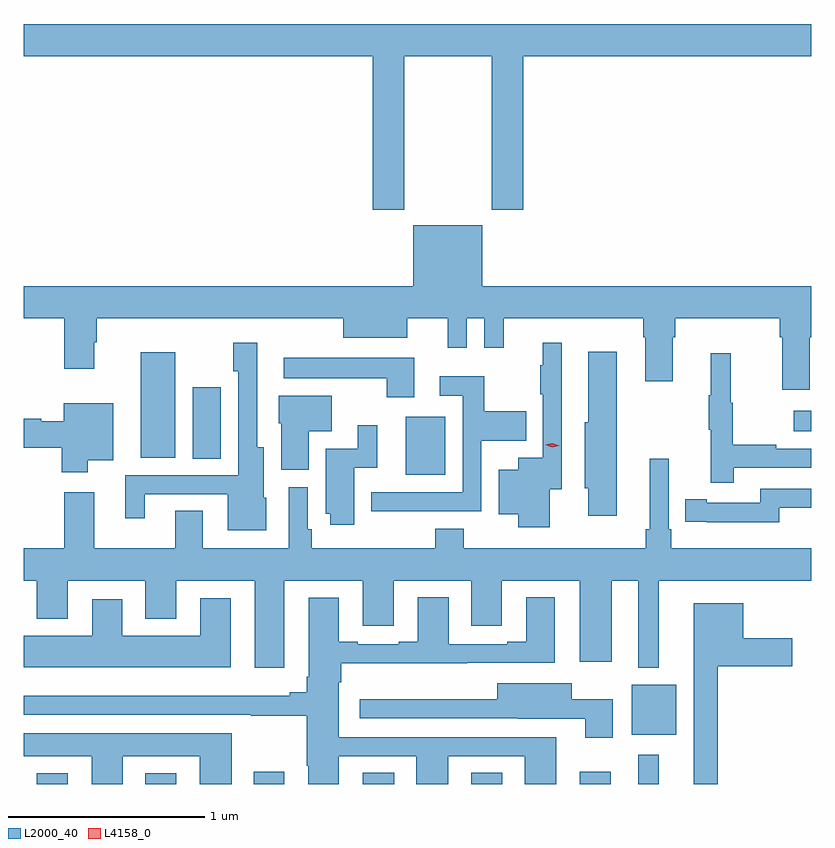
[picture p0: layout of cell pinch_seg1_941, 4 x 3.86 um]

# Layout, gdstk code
import gdstk
lib = gdstk.Library(unit=1e-6, precision=1e-09)
def R(c, l, rs):  # rectangles x0, y0, x1, y1
    for r in rs: c.add(gdstk.rectangle(r[:2], r[2:], *l))
def P(c, l, *ps):  # polygons
    for p in ps: c.add(gdstk.Polygon(p, *l))
L2000_40 = (2000, 40)
L4158_0 = (4158, 0)

pinch_seg1_941 = lib.new_cell('pinch_seg1_941')
R(pinch_seg1_941, L2000_40, [(196.304,508.074,196.462,508.129), (196.856,508.074,197.014,508.129), (197.408,508.074,197.563,508.135), (197.96,508.074,198.121,508.13), (198.512,508.074,198.67,508.13), (199.064,508.074,199.222,508.135), (199.361,508.074,199.465,508.222), (199.328,508.325,199.555,508.579), (198.179,509.645,198.379,509.941), (197.096,509.728,197.239,510.091), (196.832,509.732,197.008,510.268), (200.151,509.867,200.239,509.971)])
P(pinch_seg1_941, L2000_40, [(198.171,511.772),(198.616,511.772),(198.616,510.993),(198.776,510.993),(198.776,511.772),(200.239,511.772),(200.239,511.936),(196.239,511.936),(196.239,511.772),(198.011,511.772),(198.011,510.993),(198.171,510.993)],
  [(200.233,510.344),(200.239,510.344),(200.239,510.604),(198.568,510.604),(198.568,510.913),(198.218,510.913),(198.218,510.604),(196.239,510.604),(196.239,510.44),(196.445,510.44),(196.445,510.183),(196.597,510.183),(196.597,510.32),(196.61,510.32),(196.61,510.44),(197.861,510.44),(197.861,510.341),(198.187,510.341),(198.187,510.44),(198.392,510.44),(198.392,510.291),(198.489,510.291),(198.489,510.44),(198.579,510.44),(198.579,510.291),(198.677,510.291),(198.677,510.44),(199.385,510.44),(199.385,510.344),(199.397,510.344),(199.397,510.12),(199.537,510.12),(199.537,510.344),(199.55,510.344),(199.55,510.44),(200.081,510.44),(200.081,510.344),(200.093,510.344),(200.093,510.078),(200.233,510.078)],
  [(198.91,509.573),(198.972,509.573),(198.972,510.013),(198.973,510.013),(198.973,510.316),(198.875,510.316),(198.875,510.203),(198.864,510.203),(198.864,510.055),(198.876,510.055),(198.876,509.731),(198.752,509.731),(198.752,509.671),(198.653,509.671),(198.653,509.444),(198.752,509.444),(198.752,509.379),(198.91,509.379)],
  [(197.47,509.529),(197.458,509.529),(197.458,509.785),(197.424,509.785),(197.424,510.316),(197.302,510.316),(197.302,510.171),(197.328,510.171),(197.328,509.643),(196.754,509.643),(196.754,509.424),(196.852,509.424),(196.852,509.547),(197.276,509.547),(197.276,509.363),(197.47,509.363)],
  [(199.252,510.271),(199.106,510.271),(199.106,509.913),(199.088,509.913),(199.088,509.577),(199.106,509.577),(199.106,509.436),(199.252,509.436)],
  [(199.847,509.682),(200.239,509.682),(200.239,509.778),(200.063,509.778),(200.063,509.798),(199.84,509.798),(199.84,510.012),(199.832,510.012),(199.832,510.262),(199.73,510.262),(199.73,510.049),(199.719,510.049),(199.719,509.875),(199.73,509.875),(199.73,509.604),(199.847,509.604)],
  [(198.223,510.241),(197.559,510.241),(197.559,510.137),(198.083,510.137),(198.083,510.039),(198.223,510.039)],
  [(198.239,509.46),(198.564,509.46),(198.564,509.819),(198.791,509.819),(198.791,509.967),(198.577,509.967),(198.577,510.145),(198.351,510.145),(198.351,510.048),(198.468,510.048),(198.468,509.556),(198.003,509.556),(198.003,509.459),(198.239,509.459)],
  [(197.686,509.867),(197.803,509.867),(197.803,510.046),(197.534,510.046),(197.534,509.907),(197.546,509.907),(197.546,509.67),(197.686,509.67)],
  [(196.564,509.72),(196.693,509.72),(196.693,510.01),(196.442,510.01),(196.442,509.917),(196.326,509.917),(196.326,509.93),(196.239,509.93),(196.239,509.783),(196.43,509.783),(196.43,509.658),(196.564,509.658)],
  [(197.917,509.682),(198.034,509.682),(198.034,509.896),(197.936,509.896),(197.936,509.778),(197.774,509.778),(197.774,509.448),(197.795,509.448),(197.795,509.391),(197.917,509.391)],
  [(199.465,509.108),(200.239,509.108),(200.239,509.272),(199.529,509.272),(199.529,509.368),(199.515,509.368),(199.515,509.728),(199.418,509.728),(199.418,509.368),(199.399,509.368),(199.399,509.272),(198.475,509.272),(198.475,509.371),(198.328,509.371),(198.328,509.272),(197.702,509.272),(197.702,509.368),(197.682,509.368),(197.682,509.581),(197.586,509.581),(197.586,509.272),(197.149,509.272),(197.149,509.462),(197.009,509.462),(197.009,509.272),(196.597,509.272),(196.597,509.557),(196.445,509.557),(196.445,509.272),(196.239,509.272),(196.239,509.108),(196.304,509.108),(196.304,508.914),(196.462,508.914),(196.462,509.108),(196.856,509.108),(196.856,508.914),(197.014,508.914),(197.014,509.108),(197.411,509.108),(197.411,508.665),(197.563,508.665),(197.563,509.108),(197.96,509.108),(197.96,508.878),(198.118,508.878),(198.118,509.108),(198.512,509.108),(198.512,508.878),(198.667,508.878),(198.667,509.108),(199.064,509.108),(199.064,508.695),(199.225,508.695),(199.225,509.108),(199.361,509.108),(199.361,508.664),(199.465,508.664)],
  [(200.076,509.478),(200.239,509.478),(200.239,509.574),(199.98,509.574),(199.98,509.502),(199.708,509.502),(199.708,509.522),(199.6,509.522),(199.6,509.406),(199.708,509.406),(199.708,509.405),(200.076,509.405)],
  [(197.839,508.215),(198.233,508.215),(198.233,508.074),(198.394,508.074),(198.394,508.215),(198.785,508.215),(198.785,508.074),(198.943,508.074),(198.943,508.311),(197.839,508.311),(197.839,508.592),(197.852,508.592),(197.852,508.688),(198.493,508.688),(198.493,508.689),(198.937,508.689),(198.937,509.023),(198.791,509.023),(198.791,508.798),(198.695,508.798),(198.695,508.785),(198.397,508.785),(198.397,509.023),(198.239,509.023),(198.239,508.798),(198.143,508.798),(198.143,508.785),(197.935,508.785),(197.935,508.798),(197.839,508.798),(197.839,509.02),(197.687,509.02),(197.687,508.618),(197.675,508.618),(197.675,508.541),(197.591,508.541),(197.591,508.522),(196.239,508.522),(196.239,508.425),(197.392,508.425),(197.392,508.42),(197.677,508.42),(197.677,508.168),(197.684,508.168),(197.684,508.074),(197.839,508.074)],
  [(197.29,509.017),(197.135,509.017),(197.135,508.828),(196.738,508.828),(196.738,509.014),(196.586,509.014),(196.586,508.828),(196.239,508.828),(196.239,508.667),(197.29,508.667)],
  [(199.765,508.673),(200.143,508.673),(200.143,508.815),(199.894,508.815),(199.894,508.993),(199.643,508.993),(199.643,508.074),(199.765,508.074)],
  [(199.231,508.505),(199.024,508.505),(199.024,508.585),(198.644,508.585),(198.644,508.505),(197.946,508.505),(197.946,508.407),(198.748,508.407),(198.748,508.406),(199.091,508.406),(199.091,508.308),(199.231,508.308)],
  [(196.741,508.214),(197.132,508.214),(197.132,508.074),(197.296,508.074),(197.296,508.333),(196.239,508.333),(196.239,508.214),(196.583,508.214),(196.583,508.074),(196.741,508.074)])
P(pinch_seg1_941, L4158_0, [(198.923,509.786),(198.888,509.799),(198.888,509.799),(198.888,509.799),(198.925,509.806),(198.96,509.794),(198.96,509.794),(198.96,509.794)])

lib.write_gds('pinch_seg1_941.gds')
